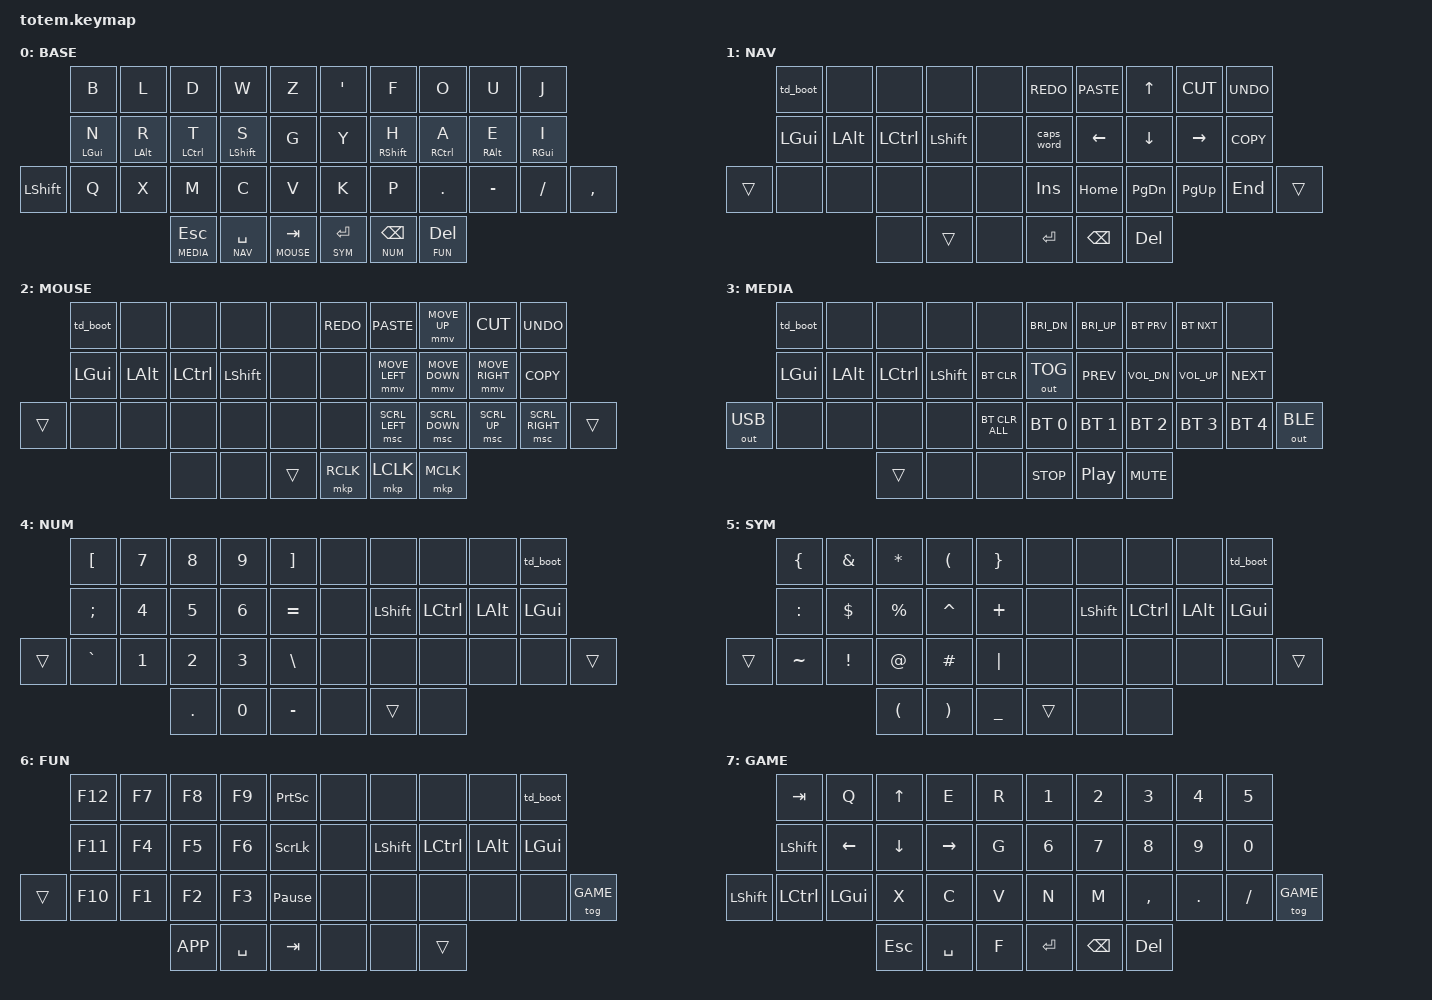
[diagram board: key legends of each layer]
// TOTEM — Miryoku (QWERTY)
// Home row mods (GACS), Miryoku's six thumb keys and the layers they hold,
// plus combos, mouse keys, caps word and a toggled Game layer.
//
//     left  thumbs: Esc / MEDIA    Space / NAV    Tab / MOUSE
//     right thumbs: Enter / SYM    Bksp / NUM     Del / FUN
// ── Mouse speed tuning ──────────────────────────────────────────────

#define MOUSE_TIME_TO_MAX_SPEED 800
#define U_MOUSE_MOVE_MAX 3000
#define U_MOUSE_SCROLL_MAX 20

// Must precede pointing.h so the defaults are overridden

#define ZMK_POINTING_DEFAULT_MOVE_VAL U_MOUSE_MOVE_MAX
#define ZMK_POINTING_DEFAULT_SCRL_VAL U_MOUSE_SCROLL_MAX

#include <behaviors.dtsi>
#include <dt-bindings/zmk/bt.h>
#include <dt-bindings/zmk/keys.h>
#include <dt-bindings/zmk/outputs.h>
#include <dt-bindings/zmk/pointing.h>

#define BASE   0
#define NAV    1
#define MOUSE  2
#define MEDIA  3
#define NUM    4
#define SYM    5
#define FUN    6
#define GAME   7

// Key position groups for reference:
//          0  1  2  3  4     5  6  7  8  9       <- top
//         10 11 12 13 14    15 16 17 18 19       <- home
//     20  21 22 23 24 25    26 27 28 29 30  31   <- bottom + side
//               32 33 34    35 36 37             <- thumbs

#define KEYS_L 0 1 2 3 4 10 11 12 13 14 20 21 22 23 24 25
#define KEYS_R 5 6 7 8 9 15 16 17 18 19 26 27 28 29 30 31
#define THUMBS 32 33 34 35 36 37

// Mouse behavior tuning

&mmv { time-to-max-speed-ms = <MOUSE_TIME_TO_MAX_SPEED>; };

&msc { time-to-max-speed-ms = <MOUSE_TIME_TO_MAX_SPEED>; };

/ {
    behaviors {
        // ── Home Row Mods (left hand) ──
        // Positional: hold only triggers on right-hand keys + thumbs

        hml: home_row_mod_left {
            compatible = "zmk,behavior-hold-tap";
            #binding-cells = <2>;
            flavor = "balanced";
            tapping-term-ms = <280>;
            quick-tap-ms = <175>;
            require-prior-idle-ms = <150>;
            bindings = <&kp>, <&kp>;

            hold-trigger-key-positions = <KEYS_R THUMBS>;
            hold-trigger-on-release;
        };

        // ── Home Row Mods (right hand) ──
        // Positional: hold only triggers on left-hand keys + thumbs

        hmr: home_row_mod_right {
            compatible = "zmk,behavior-hold-tap";
            #binding-cells = <2>;
            flavor = "balanced";
            tapping-term-ms = <280>;
            quick-tap-ms = <175>;
            require-prior-idle-ms = <150>;
            bindings = <&kp>, <&kp>;

            hold-trigger-key-positions = <KEYS_L THUMBS>;
            hold-trigger-on-release;
        };

        // ── Thumb Layer-Tap ──
        // Fast activation: hold-preferred, 200ms (RMK HoldOnOtherPress)

        lt_th: layer_tap_thumb {
            compatible = "zmk,behavior-hold-tap";
            #binding-cells = <2>;
            flavor = "balanced";
            tapping-term-ms = <200>;
            quick-tap-ms = <200>;
            bindings = <&mo>, <&kp>;
        };

        // Double-tap to put the half the key is on into its bootloader
        // (Miryoku guards its boot key the same way)
        td_boot: tap_dance_bootloader {
            compatible = "zmk,behavior-tap-dance";
            #binding-cells = <0>;
            tapping-term-ms = <250>;
            bindings = <&none>, <&bootloader>;
        };
    };

    // ══════════════════════════════════════════════════════════════
    // Combos — 34 total
    // ══════════════════════════════════════════════════════════════

    combos {
        compatible = "zmk,combos";

        // ── Vertical combos (top + home row) ─────────────────────
        // Less prone to misfires: 80ms timeout, 150ms prior-idle

        combo_play_pause {
            timeout-ms = <80>;
            key-positions = <0 10>;
            bindings = <&kp C_PLAY_PAUSE>;
            require-prior-idle-ms = <150>;
            layers = <BASE>;
        };

        combo_at {
            timeout-ms = <80>;
            key-positions = <1 11>;
            bindings = <&kp AT>;
            require-prior-idle-ms = <150>;
            layers = <BASE>;
        };

        combo_hash {
            timeout-ms = <80>;
            key-positions = <2 12>;
            bindings = <&kp HASH>;
            require-prior-idle-ms = <150>;
            layers = <BASE>;
        };

        combo_dllr {
            timeout-ms = <80>;
            key-positions = <3 13>;
            bindings = <&kp DLLR>;
            require-prior-idle-ms = <150>;
            layers = <BASE>;
        };

        combo_prcnt {
            timeout-ms = <80>;
            key-positions = <4 14>;
            bindings = <&kp PRCNT>;
            require-prior-idle-ms = <150>;
            layers = <BASE>;
        };

        combo_caret {
            timeout-ms = <80>;
            key-positions = <5 15>;
            bindings = <&kp CARET>;
            require-prior-idle-ms = <150>;
            layers = <BASE>;
        };

        combo_plus {
            timeout-ms = <80>;
            key-positions = <6 16>;
            bindings = <&kp PLUS>;
            require-prior-idle-ms = <150>;
            layers = <BASE>;
        };

        combo_star {
            timeout-ms = <80>;
            key-positions = <7 17>;
            bindings = <&kp STAR>;
            require-prior-idle-ms = <150>;
            layers = <BASE>;
        };

        combo_amps {
            timeout-ms = <80>;
            key-positions = <8 18>;
            bindings = <&kp AMPS>;
            require-prior-idle-ms = <150>;
            layers = <BASE>;
        };

        combo_vol_up {
            timeout-ms = <80>;
            key-positions = <9 19>;
            bindings = <&kp C_VOL_UP>;
            require-prior-idle-ms = <150>;
            layers = <BASE>;
        };

        // ── Vertical combos (home + bottom row) ──────────────────

        combo_mute {
            timeout-ms = <80>;
            key-positions = <10 21>;
            bindings = <&kp K_MUTE>;
            require-prior-idle-ms = <150>;
            layers = <BASE>;
        };

        combo_grave {
            timeout-ms = <80>;
            key-positions = <11 22>;
            bindings = <&kp GRAVE>;
            require-prior-idle-ms = <150>;
            layers = <BASE>;
        };

        combo_bslh {
            timeout-ms = <80>;
            key-positions = <12 23>;
            bindings = <&kp BSLH>;
            require-prior-idle-ms = <150>;
            layers = <BASE>;
        };

        combo_equal {
            timeout-ms = <80>;
            key-positions = <13 24>;
            bindings = <&kp EQUAL>;
            require-prior-idle-ms = <150>;
            layers = <BASE>;
        };

        combo_tilde {
            timeout-ms = <80>;
            key-positions = <14 25>;
            bindings = <&kp TILDE>;
            require-prior-idle-ms = <150>;
            layers = <BASE>;
        };

        combo_under {
            timeout-ms = <80>;
            key-positions = <15 26>;
            bindings = <&kp UNDER>;
            require-prior-idle-ms = <150>;
            layers = <BASE>;
        };

        combo_minus {
            timeout-ms = <80>;
            key-positions = <16 27>;
            bindings = <&kp MINUS>;
            require-prior-idle-ms = <150>;
            layers = <BASE>;
        };

        combo_fslh {
            timeout-ms = <80>;
            key-positions = <17 28>;
            bindings = <&kp FSLH>;
            require-prior-idle-ms = <150>;
            layers = <BASE>;
        };

        combo_pipe {
            timeout-ms = <80>;
            key-positions = <18 29>;
            bindings = <&kp PIPE>;
            require-prior-idle-ms = <150>;
            layers = <BASE>;
        };

        combo_vol_dn {
            timeout-ms = <80>;
            key-positions = <19 30>;
            bindings = <&kp C_VOL_DN>;
            require-prior-idle-ms = <150>;
            layers = <BASE>;
        };

        // ── Horizontal combos (same row, adjacent) ───────────────
        // Tight timing to prevent misfires during fast typing:
        // 40ms timeout + 280ms prior-idle
        // Top row

        combo_lbkt {
            timeout-ms = <40>;
            key-positions = <6 7>;
            bindings = <&kp LBKT>;
            require-prior-idle-ms = <280>;
            layers = <BASE>;
        };

        combo_rbkt {
            timeout-ms = <40>;
            key-positions = <7 8>;
            bindings = <&kp RBKT>;
            require-prior-idle-ms = <280>;
            layers = <BASE>;
        };

        // Home row

        combo_lt {
            timeout-ms = <40>;
            key-positions = <15 16>;
            bindings = <&kp LT>;
            require-prior-idle-ms = <280>;
            layers = <BASE>;
        };

        combo_lpar {
            timeout-ms = <40>;
            key-positions = <16 17>;
            bindings = <&kp LPAR>;
            require-prior-idle-ms = <280>;
            layers = <BASE>;
        };

        combo_rpar {
            timeout-ms = <40>;
            key-positions = <17 18>;
            bindings = <&kp RPAR>;
            require-prior-idle-ms = <280>;
            layers = <BASE>;
        };

        combo_gt {
            timeout-ms = <40>;
            key-positions = <18 19>;
            bindings = <&kp GT>;
            require-prior-idle-ms = <280>;
            layers = <BASE>;
        };

        // Bottom row

        combo_copy {
            timeout-ms = <40>;
            key-positions = <22 23>;
            bindings = <&kp LC(C)>;
            require-prior-idle-ms = <280>;
            layers = <BASE>;
        };

        combo_paste {
            timeout-ms = <40>;
            key-positions = <23 24>;
            bindings = <&kp LC(V)>;
            require-prior-idle-ms = <280>;
            layers = <BASE>;
        };

        combo_cut {
            timeout-ms = <40>;
            key-positions = <22 24>;
            bindings = <&kp LC(X)>;
            require-prior-idle-ms = <280>;
            layers = <BASE>;
        };

        combo_lbrc {
            timeout-ms = <40>;
            key-positions = <27 28>;
            bindings = <&kp LBRC>;
            require-prior-idle-ms = <280>;
            layers = <BASE>;
        };

        combo_rbrc {
            timeout-ms = <40>;
            key-positions = <28 29>;
            bindings = <&kp RBRC>;
            require-prior-idle-ms = <280>;
            layers = <BASE>;
        };

        // ── Multi-key / special combos ───────────────────────────

        combo_tab {
            timeout-ms = <50>;
            key-positions = <11 12 13>;
            bindings = <&kp TAB>;
            require-prior-idle-ms = <200>;
            layers = <BASE>;
        };

        combo_caps_word {
            timeout-ms = <80>;
            key-positions = <13 16>;
            bindings = <&caps_word>;
            require-prior-idle-ms = <150>;
            layers = <BASE>;
        };

        combo_studio_unlock {
            timeout-ms = <80>;
            key-positions = <32 37>;
            bindings = <&studio_unlock>;
            require-prior-idle-ms = <150>;
        };

        combo_lshift {
            bindings = <&kp LEFT_SHIFT>;
            key-positions = <32 33>;
        };

        combo_rshift {
            bindings = <&kp RIGHT_SHIFT>;
            key-positions = <36 37>;
        };
    };

    // ══════════════════════════════════════════════════════════════
    // Keymap — 6 layers
    // ══════════════════════════════════════════════════════════════

    keymap {
        compatible = "zmk,keymap";

        // Layers follow Miryoku: the hand holding the layer gets the home-row
        // mods (and a double-tap bootloader key on its top corner), the other
        // hand gets the layer's keys. The outer pinky keys stay Shift.
        // The layout is Graphite without special shift modifiers.

        base_layer {
            display-name = "BASE";
            bindings = <
           &kp B        &kp L        &kp D             &kp W             &kp Z              &kp SQT         &kp F            &kp O         &kp U        &kp J
           &hml LGUI N  &hml LALT R  &hml LCTRL T      &hml LSHFT S      &kp G              &kp Y           &hmr RSHFT H     &hmr RCTRL A  &hmr RALT E  &hmr RGUI I
&kp LSHFT  &kp Q        &kp X        &kp M             &kp C             &kp V              &kp K           &kp P            &kp DOT       &kp MINUS    &kp FSLH     &kp COMMA
                                     &lt_th MEDIA ESC  &lt_th NAV SPACE  &lt_th MOUSE TAB   &lt_th SYM RET  &lt_th NUM BSPC  &lt_th FUN DEL
            >;
        };

        nav_layer {
            display-name = "NAV";
            bindings = <
        &td_boot  &none     &none      &none      &none    &kp K_REDO  &kp K_PASTE  &kp UP      &kp K_CUT  &kp K_UNDO
        &kp LGUI  &kp LALT  &kp LCTRL  &kp LSHFT  &none    &caps_word  &kp LEFT     &kp DOWN    &kp RIGHT  &kp K_COPY
&trans  &none     &none     &none      &none      &none    &kp INS     &kp HOME     &kp PG_DN   &kp PG_UP  &kp END     &trans
                            &none      &trans     &none    &kp RET     &kp BSPC     &kp DEL
            >;
        };

        mouse_layer {
            display-name = "MOUSE";
            bindings = <
        &td_boot  &none     &none      &none      &none    &kp K_REDO  &kp K_PASTE     &mmv MOVE_UP    &kp K_CUT        &kp K_UNDO
        &kp LGUI  &kp LALT  &kp LCTRL  &kp LSHFT  &none    &none       &mmv MOVE_LEFT  &mmv MOVE_DOWN  &mmv MOVE_RIGHT  &kp K_COPY
&trans  &none     &none     &none      &none      &none    &none       &msc SCRL_LEFT  &msc SCRL_DOWN  &msc SCRL_UP     &msc SCRL_RIGHT  &trans
                            &none      &none      &trans   &mkp RCLK   &mkp LCLK       &mkp MCLK
            >;
        };

        media_layer {
            display-name = "MEDIA";
            bindings = <
              &td_boot  &none     &none      &none      &none             &kp C_BRI_DN  &kp C_BRI_UP  &bt BT_PRV    &bt BT_NXT    &none
              &kp LGUI  &kp LALT  &kp LCTRL  &kp LSHFT  &bt BT_CLR        &out OUT_TOG  &kp C_PREV    &kp C_VOL_DN  &kp C_VOL_UP  &kp C_NEXT
&out OUT_USB  &none     &none     &none      &none      &bt BT_CLR_ALL    &bt BT_SEL 0  &bt BT_SEL 1  &bt BT_SEL 2  &bt BT_SEL 3  &bt BT_SEL 4  &out OUT_BLE
                                  &trans     &none      &none             &kp C_STOP    &kp C_PP      &kp C_MUTE
            >;
        };

        num_layer {
            display-name = "NUM";
            bindings = <
        &kp LBKT   &kp N7  &kp N8  &kp N9  &kp RBKT     &none  &none      &none      &none     &td_boot
        &kp SEMI   &kp N4  &kp N5  &kp N6  &kp EQUAL    &none  &kp LSHFT  &kp LCTRL  &kp LALT  &kp LGUI
&trans  &kp GRAVE  &kp N1  &kp N2  &kp N3  &kp BSLH     &none  &none      &none      &none     &none     &trans
                           &kp DOT &kp N0  &kp MINUS    &none  &trans     &none
            >;
        };

        sym_layer {
            display-name = "SYM";
            bindings = <
        &kp LBRC   &kp AMPS  &kp STAR   &kp LPAR   &kp RBRC    &none   &none      &none      &none     &td_boot
        &kp COLON  &kp DLLR  &kp PRCNT  &kp CARET  &kp PLUS    &none   &kp LSHFT  &kp LCTRL  &kp LALT  &kp LGUI
&trans  &kp TILDE  &kp EXCL  &kp AT     &kp HASH   &kp PIPE    &none   &none      &none      &none     &none     &trans
                             &kp LPAR   &kp RPAR   &kp UNDER   &trans  &none      &none
            >;
        };

        fun_layer {
            display-name = "FUN";
            bindings = <
        &kp F12  &kp F7  &kp F8  &kp F9  &kp PSCRN          &none  &none      &none      &none     &td_boot
        &kp F11  &kp F4  &kp F5  &kp F6  &kp SLCK           &none  &kp LSHFT  &kp LCTRL  &kp LALT  &kp LGUI
&trans  &kp F10  &kp F1  &kp F2  &kp F3  &kp PAUSE_BREAK    &none  &none      &none      &none     &none     &tog GAME
                         &kp K_APP  &kp SPACE  &kp TAB      &none  &none      &trans
            >;
        };

        game_layer {
            display-name = "GAME";
            bindings = <
        &kp TAB         &kp Q         &kp UP_ARROW  &kp E            &kp R     &kp N1  &kp N2     &kp N3         &kp N4   &kp N5
        &kp LEFT_SHIFT  &kp LEFT      &kp DOWN      &kp RIGHT_ARROW  &kp G     &kp N6  &kp N7     &kp N8         &kp N9   &kp N0
&kp LSHIFT  &kp LCTRL       &kp LEFT_GUI  &kp X         &kp C            &kp V    &kp N    &kp M     &kp COMMA  &kp DOT  &kp FSLH  &tog GAME
                                          &kp ESC       &kp SPACE        &kp F    &kp RET  &kp BSPC  &kp DEL
            >;
        };

        extra_1 { status = "reserved"; };
        extra_2 { status = "reserved"; };
        extra_3 { status = "reserved"; };
        extra_4 { status = "reserved"; };
        extra_5 { status = "reserved"; };
        extra_6 { status = "reserved"; };
    };
};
